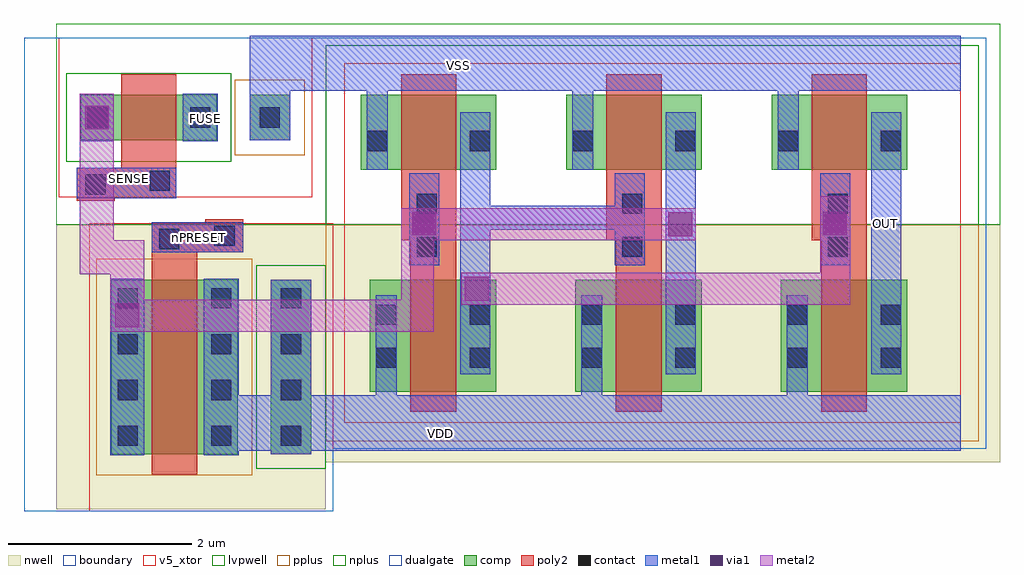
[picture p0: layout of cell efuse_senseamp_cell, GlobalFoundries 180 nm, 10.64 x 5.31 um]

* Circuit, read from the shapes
.subckt efuse_senseamp_cell FUSE OUT SENSE VDD VSS nPRESET
XM1 FUSE SENSE n1 VSS nfet_05v0 w=0.5u l=0.6u
XM2 n2 n1 VSS VSS nfet_05v0 w=0.82u l=0.6u
XM3 n1 n2 VSS VSS nfet_05v0 w=0.82u l=0.6u
XM4 OUT n2 VSS VSS nfet_05v0 w=0.82u l=0.6u
XM5 VDD nPRESET n1 VDD pfet_05v0 w=1.9u l=0.5u
XM6 n2 n1 VDD VDD pfet_05v0 w=1.22u l=0.5u
XM7 n1 n2 VDD VDD pfet_05v0 w=1.22u l=0.5u
XM8 OUT n2 VDD VDD pfet_05v0 w=1.22u l=0.5u
.ends

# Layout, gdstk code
from math import pi, radians
import gdstk
lib = gdstk.Library(unit=1e-6, precision=1e-09)
def R(c, l, rs):  # rectangles x0, y0, x1, y1
    for r in rs: c.add(gdstk.rectangle(r[:2], r[2:], *l))
def A(c, l, x, y, w, h, nx, ny, dx, dy):  # array of equal rectangles
    R(c, l, [(x+i*dx, y+j*dy, x+i*dx+w, y+j*dy+h) for i in range(nx) for j in range(ny)])
def P(c, l, *ps):  # polygons
    for p in ps: c.add(gdstk.Polygon(p, *l))
boundary = (0, 0)
nwell = (21, 0)
comp = (22, 0)
poly2 = (30, 0)
pplus = (31, 0)
nplus = (32, 0)
contact = (33, 0)
metal1 = (34, 0)
via1 = (35, 0)
metal2 = (36, 0)
dualgate = (55, 0)
v5_xtor = (112, 1)
lvpwell = (204, 0)

gf180mcu_fd_sc_mcu7t5v0_ = lib.new_cell('gf180mcu_fd_sc_mcu7t5v0__inv_1')
R(gf180mcu_fd_sc_mcu7t5v0_, boundary, [(-1.96,5.1,0.28,9.02)])
R(gf180mcu_fd_sc_mcu7t5v0_, nwell, [(-2.39,4.67,0.71,7.26)])
R(gf180mcu_fd_sc_mcu7t5v0_, comp, [(-1.68,5.44,-0.3,6.66), (-1.78,7.86,-0.3,8.68)])
P(gf180mcu_fd_sc_mcu7t5v0_, poly2, [(-1.24,5.22),(-1.24,7.09),(-1.34,7.09),(-1.34,8.9),(-0.74,8.9),(-0.74,5.22)])
R(gf180mcu_fd_sc_mcu7t5v0_, pplus, [(-2.16,4.9,0.48,7.26)])
R(gf180mcu_fd_sc_mcu7t5v0_, nplus, [(-2.16,7.26,0.48,9.22)])
R(gf180mcu_fd_sc_mcu7t5v0_, contact, [(-1.61,5.7,-1.39,5.92), (-0.59,5.7,-0.37,5.92), (-1.61,6.17,-1.39,6.39), (-0.59,6.17,-0.37,6.39), (-1.17,6.91,-0.95,7.13), (-1.17,7.38,-0.95,7.6), (-1.71,8.065,-1.49,8.285), (-0.59,8.065,-0.37,8.285)])
R(gf180mcu_fd_sc_mcu7t5v0_, metal1, [(-0.695,5.63,-0.365,8.49), (-1.25,6.82,-0.925,7.82)])
P(gf180mcu_fd_sc_mcu7t5v0_, metal1, [(-1.96,4.8),(-1.96,5.4),(-1.615,5.4),(-1.615,6.49),(-1.385,6.49),(-1.385,5.4),(0.28,5.4),(0.28,4.8)],
  [(-1.715,7.86),(-1.715,8.72),(-1.96,8.72),(-1.96,9.32),(0.28,9.32),(0.28,8.72),(-1.485,8.72),(-1.485,7.86)])
R(gf180mcu_fd_sc_mcu7t5v0_, dualgate, [(-2.24,4.82,0.56,9.3)])
R(gf180mcu_fd_sc_mcu7t5v0_, v5_xtor, [(-1.96,5.1,0.28,9.02)])
R(gf180mcu_fd_sc_mcu7t5v0_, lvpwell, [(-2.39,7.26,0.71,9.45)])

pmos_1 = lib.new_cell('pmos$1')
R(pmos_1, nwell, [(-2.92,6.52,0.02,9.62)])
R(pmos_1, comp, [(-2.76,7.12,-2.32,9.02), (-1.96,7.12,-0.58,9.02)])
R(pmos_1, poly2, [(-1.52,6.9,-1.02,9.24)])
R(pmos_1, pplus, [(-2.12,6.89,-0.42,9.25)])
R(pmos_1, nplus, [(-2.92,6.96,-2.16,9.18)])
A(pmos_1, contact, -2.65, 7.21, 0.22, 0.22, 1, 4, 0, 0.5)
A(pmos_1, contact, -1.89, 7.21, 0.22, 0.22, 1, 4, 0, 0.5)
A(pmos_1, contact, -0.87, 7.21, 0.22, 0.22, 1, 4, 0, 0.5)
R(pmos_1, metal1, [(-1.97,7.11,-1.59,9.03), (-0.94,7.11,-0.57,9.03), (-2.76,7.12,-2.32,9.02)])
R(pmos_1, dualgate, [(-3,6.5,-0.34,9.64)])
R(pmos_1, v5_xtor, [(-3,6.5,-0.34,9.64)])

nmos = lib.new_cell('nmos')
R(nmos, comp, [(-2.76,8.52,-2.32,9.02), (-1.96,8.52,-0.48,9.02)])
R(nmos, poly2, [(-1.52,8.3,-0.92,9.24)])
R(nmos, pplus, [(-2.92,8.36,-2.16,9.18)])
R(nmos, nplus, [(-2.12,8.29,-0.32,9.25)])
R(nmos, contact, [(-2.65,8.66,-2.43,8.88), (-1.89,8.66,-1.67,8.88), (-0.77,8.66,-0.55,8.88)])
R(nmos, metal1, [(-1.97,8.51,-1.59,9.03), (-0.84,8.51,-0.47,9.03), (-2.76,8.52,-2.32,9.02)])
R(nmos, dualgate, [(-3,7.9,-0.24,9.64)])
R(nmos, v5_xtor, [(-3,7.9,-0.24,9.64)])

efuse_senseamp_cell = lib.new_cell('efuse_senseamp_cell')
R(efuse_senseamp_cell, poly2, [(1.39,-2.57,1.89,-2.49), (1.39,-2.49,2.39,-2.16), (1.975,-2.16,2.39,-2.13), (0.575,-1.93,0.99,-1.9), (0.575,-1.9,1.66,-1.57), (1.06,-1.57,1.66,-1.49)])
R(efuse_senseamp_cell, contact, [(1.475,-2.455,1.695,-2.235), (2.075,-2.42,2.295,-2.2), (0.67,-1.86,0.89,-1.64), (1.37,-1.82,1.59,-1.6)])
R(efuse_senseamp_cell, metal1, [(2.34,-4.65,3.49,-4.05), (1.39,-2.49,2.39,-2.16), (5.085,-2.245,6.44,-1.98), (0.575,-1.9,1.575,-1.57), (0.66,-1.9,1.66,-1.57), (2.46,-0.77,2.9,-0.73), (2.46,-0.73,3.49,-0.13)])
R(efuse_senseamp_cell, via1, [(0.995,-3.305,1.255,-3.045), (4.805,-3.015,5.065,-2.755), (7.025,-2.315,7.285,-2.055), (4.235,-2.305,4.495,-2.045), (8.71,-2.305,8.97,-2.045), (0.665,-1.15,0.925,-0.89)])
R(efuse_senseamp_cell, metal2, [(0.94,-3.355,4.455,-3.005), (0.94,-3.355,1.31,-2.36), (4.115,-3.355,4.465,-2.01), (4.765,-3.06,7.975,-2.71), (7.975,-3.06,9.01,-2.71), (8.68,-3.06,9.005,-1.88), (0.61,-2.73,1.31,-2.36), (0.61,-2.36,0.98,-0.76), (4.115,-2.36,7.325,-2.01)])
R(efuse_senseamp_cell, dualgate, [(0,-5.31,0.71,-2.17), (0,-2.17,0.38,-0.15), (0.38,-2.17,3.21,-0.15)])
R(efuse_senseamp_cell, lvpwell, [(0.35,-2.19,3.06,0)])
efuse_senseamp_cell.add(gdstk.Reference(gf180mcu_fd_sc_mcu7t5v0_, (5.45,-9.45)))
efuse_senseamp_cell.add(gdstk.Reference(gf180mcu_fd_sc_mcu7t5v0_, (7.69,-9.45)))
efuse_senseamp_cell.add(gdstk.Reference(gf180mcu_fd_sc_mcu7t5v0_, (9.93,-9.45)))
efuse_senseamp_cell.add(gdstk.Reference(pmos_1, (0.37,4.33), rotation=pi))
efuse_senseamp_cell.add(gdstk.Reference(nmos, (0.14,7.75), rotation=pi))
efuse_senseamp_cell.add(gdstk.Label('VSS', (4.74,-0.455), layer=34, texttype=10))
efuse_senseamp_cell.add(gdstk.Label('VDD', (4.54,-4.465), layer=34, texttype=10))
efuse_senseamp_cell.add(gdstk.Label('nPRESET', (1.905,-2.33), layer=34, texttype=10))
efuse_senseamp_cell.add(gdstk.Label('SENSE', (1.155,-1.685), layer=34, texttype=10))
efuse_senseamp_cell.add(gdstk.Label('OUT', (9.395,-2.18), layer=34, texttype=10))
efuse_senseamp_cell.add(gdstk.Label('FUSE', (1.975,-1.03), layer=34, texttype=10))

lib.write_gds('efuse_senseamp_cell.gds')
